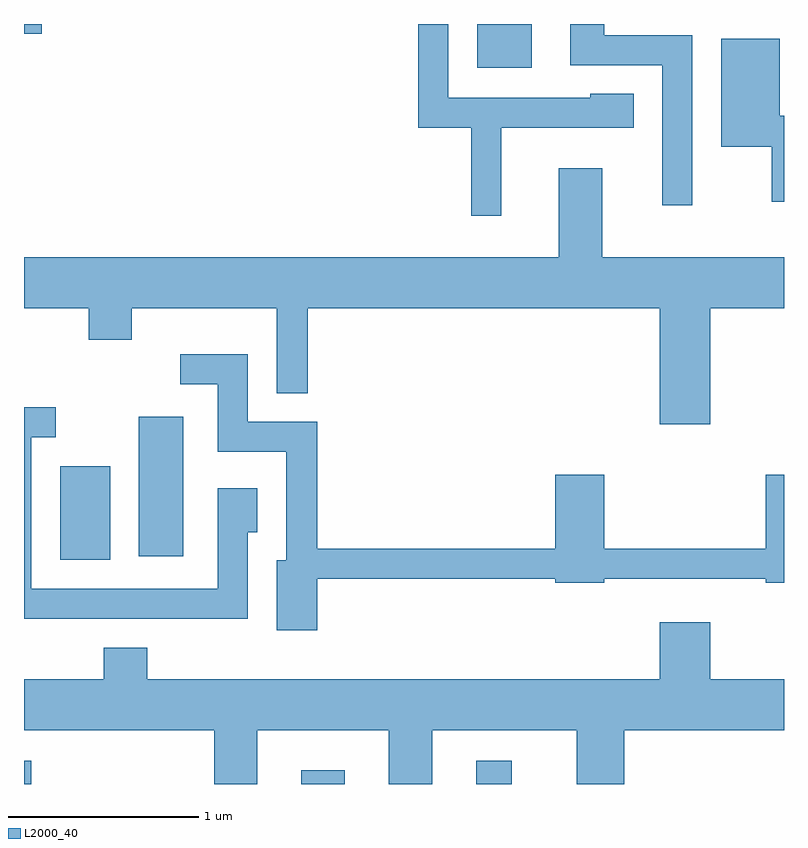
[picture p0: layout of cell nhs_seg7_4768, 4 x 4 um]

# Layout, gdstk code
import gdstk
lib = gdstk.Library(unit=1e-6, precision=1e-09)
def R(c, l, rs):  # rectangles x0, y0, x1, y1
    for r in rs: c.add(gdstk.rectangle(r[:2], r[2:], *l))
def P(c, l, *ps):  # polygons
    for p in ps: c.add(gdstk.Polygon(p, *l))
L2000_40 = (2000, 40)

nhs_seg7_4768 = lib.new_cell('nhs_seg7_4768')
R(nhs_seg7_4768, L2000_40, [(331.611,1716.252,331.649,1716.374), (333.071,1716.252,333.299,1716.324), (333.991,1716.252,334.179,1716.374), (331.801,1717.431,332.064,1717.924), (332.216,1717.451,332.449,1718.184), (333.996,1720.021,334.284,1720.252), (331.611,1720.201,331.704,1720.252)])
P(nhs_seg7_4768, L2000_40, [(334.124,1719.706),(334.819,1719.706),(334.819,1719.884),(334.591,1719.884),(334.591,1719.864),(333.844,1719.864),(333.844,1720.252),(333.686,1720.252),(333.686,1719.706),(333.966,1719.706),(333.966,1719.243),(334.124,1719.243)],
  [(335.129,1720.194),(334.664,1720.194),(334.664,1720.252),(334.486,1720.252),(334.486,1720.036),(334.971,1720.036),(334.971,1719.298),(335.129,1719.298)],
  [(335.611,1719.769),(335.589,1719.769),(335.589,1720.174),(335.281,1720.174),(335.281,1719.606),(335.546,1719.606),(335.546,1719.316),(335.611,1719.316)],
  [(335.224,1718.756),(335.611,1718.756),(335.611,1719.024),(334.654,1719.024),(334.654,1719.494),(334.426,1719.494),(334.426,1719.024),(331.611,1719.024),(331.611,1718.756),(331.951,1718.756),(331.951,1718.591),(332.179,1718.591),(332.179,1718.756),(332.941,1718.756),(332.941,1718.308),(333.104,1718.308),(333.104,1718.756),(334.956,1718.756),(334.956,1718.146),(335.224,1718.146)],
  [(333.154,1717.331),(334.406,1717.331),(334.406,1717.311),(334.664,1717.311),(334.664,1717.331),(335.516,1717.331),(335.516,1717.311),(335.611,1717.311),(335.611,1717.879),(335.516,1717.879),(335.516,1717.489),(334.664,1717.489),(334.664,1717.879),(334.406,1717.879),(334.406,1717.489),(333.154,1717.489),(333.154,1718.159),(332.789,1718.159),(332.789,1718.514),(332.433,1718.514),(332.433,1718.356),(332.631,1718.356),(332.631,1718.001),(332.991,1718.001),(332.991,1717.429),(332.941,1717.429),(332.941,1717.061),(333.154,1717.061)],
  [(332.789,1717.576),(332.839,1717.576),(332.839,1717.809),(332.631,1717.809),(332.631,1717.279),(331.649,1717.279),(331.649,1718.076),(331.778,1718.076),(331.778,1718.234),(331.611,1718.234),(331.611,1717.121),(332.789,1717.121)],
  [(332.839,1716.536),(333.531,1716.536),(333.531,1716.252),(333.759,1716.252),(333.759,1716.536),(334.521,1716.536),(334.521,1716.252),(334.769,1716.252),(334.769,1716.536),(335.611,1716.536),(335.611,1716.804),(335.224,1716.804),(335.224,1717.104),(334.956,1717.104),(334.956,1716.804),(332.259,1716.804),(332.259,1716.969),(332.031,1716.969),(332.031,1716.804),(331.611,1716.804),(331.611,1716.536),(332.611,1716.536),(332.611,1716.252),(332.839,1716.252)])

lib.write_gds('nhs_seg7_4768.gds')
